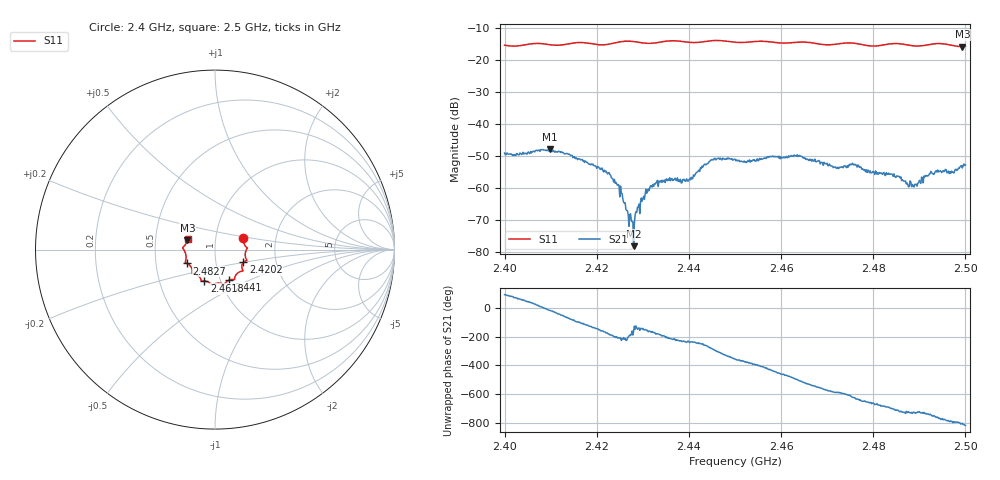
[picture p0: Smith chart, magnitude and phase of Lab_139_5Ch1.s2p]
# Hz S RI R 50
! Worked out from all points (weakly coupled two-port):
!   601 points, 2.4 GHz to 2.5 GHz, reference 50 ohm
!   highest |S21| = -47.98 dB at 2.4098 GHz (marker M1); lowest = -78.2 dB at 2.428 GHz (marker M2)
!   lowest |S11| = -15.8 dB at 2.4993 GHz (marker M3), VSWR 1.39, Z = 36.5 + j3.83 ohm
!   |S11| at or under -10 dB: start of sweep to end of sweep
!   S12 and S22 are empty: the file has one direction only
!   S11 on the Smith chart (normalised r, x): 2.4 GHz: 1.36, +0.18; 2.4202 GHz: 1.36, -0.20; 2.441 GHz: 1.10, -0.39; 2.4618 GHz: 0.84, -0.30; 2.4827 GHz: 0.72, -0.12; 2.5 GHz: 0.73, +0.09
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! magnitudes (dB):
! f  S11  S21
! 2.4 GHz  -15.4  -49.1
! 2.4098 GHz  -15.2  -48.0
! 2.4167 GHz  -14.6  -51.2
! 2.4202 GHz  -15.2  -53.3
! 2.4243 GHz  -14.5  -58.7
! 2.4275 GHz  -14.2  -70.1
! 2.428 GHz  -14.3  -78.2
! 2.4302 GHz  -14.7  -62.6
! 2.4333 GHz  -14.5  -59.5
! 2.441 GHz  -14.6  -55.9
! 2.4452 GHz  -14.0  -51.2
! 2.45 GHz  -14.5  -51.0
! 2.4618 GHz  -14.6  -50.3
! 2.4667 GHz  -14.6  -51.7
! 2.4758 GHz  -14.8  -52.8
! 2.4827 GHz  -15.2  -56.1
! 2.4833 GHz  -15.0  -55.4
! 2.489 GHz  -15.6  -58.9
! 2.4922 GHz  -15.2  -55.7
! 2.497 GHz  -15.4  -54.8
! 2.4993 GHz  -15.8  -53.8
! 2.5 GHz  -15.7  -52.8
